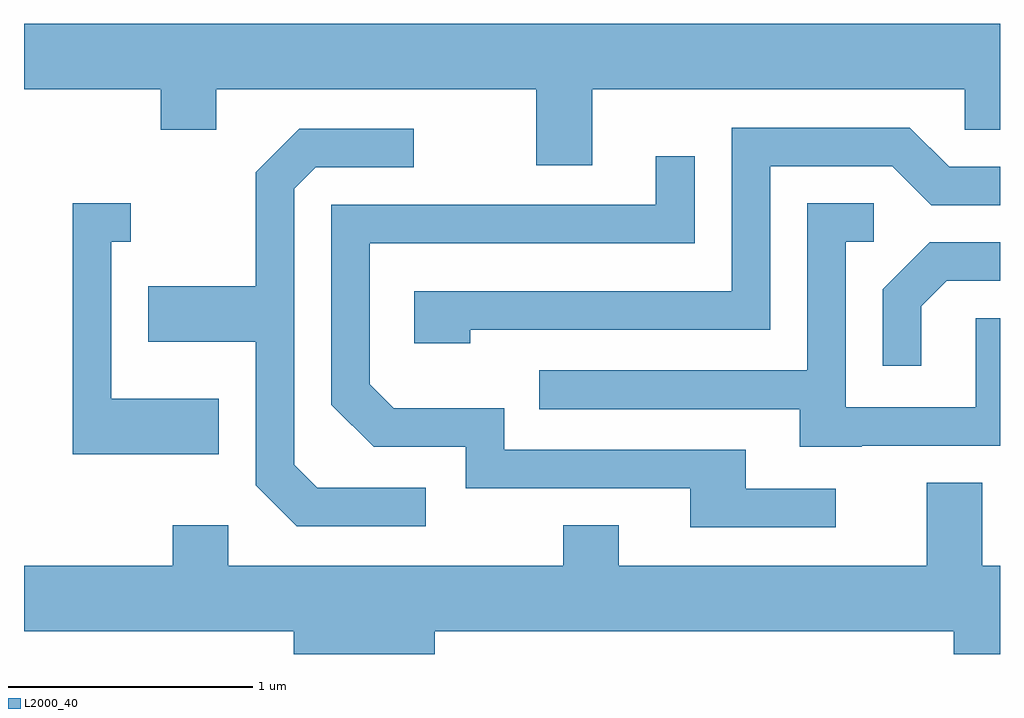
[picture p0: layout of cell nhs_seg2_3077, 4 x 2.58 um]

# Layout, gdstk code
import gdstk
lib = gdstk.Library(unit=1e-6, precision=1e-09)
def P(c, l, *ps):  # polygons
    for p in ps: c.add(gdstk.Polygon(p, *l))
L2000_40 = (2000, 40)

nhs_seg2_3077 = lib.new_cell('nhs_seg2_3077')
P(nhs_seg2_3077, L2000_40, [(277.939,1026.116),(279.466,1026.116),(279.466,1025.951),(279.611,1025.951),(279.611,1026.384),(275.611,1026.384),(275.611,1026.116),(276.171,1026.116),(276.171,1025.951),(276.399,1025.951),(276.399,1026.116),(277.711,1026.116),(277.711,1025.806),(277.939,1025.806)],
  [(277.439,1025.131),(278.669,1025.131),(278.669,1025.801),(279.169,1025.801),(279.329,1025.641),(279.611,1025.641),(279.611,1025.799),(279.402,1025.799),(279.242,1025.959),(278.511,1025.959),(278.511,1025.289),(277.211,1025.289),(277.211,1025.076),(277.439,1025.076)],
  [(277.258,1024.484),(276.812,1024.484),(276.719,1024.577),(276.719,1025.709),(276.807,1025.796),(277.208,1025.796),(277.208,1025.954),(276.739,1025.954),(276.561,1025.777),(276.561,1025.309),(276.121,1025.309),(276.121,1025.081),(276.561,1025.081),(276.561,1024.494),(276.729,1024.326),(277.258,1024.326)],
  [(278.938,1024.479),(278.569,1024.479),(278.569,1024.639),(277.579,1024.639),(277.579,1024.809),(277.127,1024.809),(277.029,1024.907),(277.029,1025.486),(278.359,1025.486),(278.359,1025.843),(278.201,1025.843),(278.201,1025.644),(276.871,1025.644),(276.871,1024.824),(277.044,1024.651),(277.421,1024.651),(277.421,1024.481),(278.341,1024.481),(278.341,1024.321),(278.938,1024.321)],
  [(279.045,1024.656),(279.611,1024.656),(279.611,1025.179),(279.511,1025.179),(279.511,1024.814),(278.979,1024.814),(278.979,1025.491),(279.093,1025.491),(279.093,1025.649),(278.821,1025.649),(278.821,1024.964),(277.723,1024.964),(277.723,1024.806),(278.791,1024.806),(278.791,1024.651),(279.045,1024.651)],
  [(276.409,1024.849),(275.969,1024.849),(275.969,1025.491),(276.048,1025.491),(276.048,1025.649),(275.811,1025.649),(275.811,1024.621),(276.409,1024.621)],
  [(279.289,1025.228),(279.392,1025.331),(279.611,1025.331),(279.611,1025.489),(279.324,1025.489),(279.131,1025.296),(279.131,1024.983),(279.289,1024.983)],
  [(277.294,1023.896),(279.421,1023.896),(279.421,1023.802),(279.611,1023.802),(279.611,1024.164),(279.539,1024.164),(279.539,1024.504),(279.311,1024.504),(279.311,1024.164),(278.049,1024.164),(278.049,1024.329),(277.821,1024.329),(277.821,1024.164),(276.449,1024.164),(276.449,1024.329),(276.221,1024.329),(276.221,1024.164),(275.611,1024.164),(275.611,1023.896),(276.716,1023.896),(276.716,1023.802),(277.294,1023.802)])

lib.write_gds('nhs_seg2_3077.gds')
